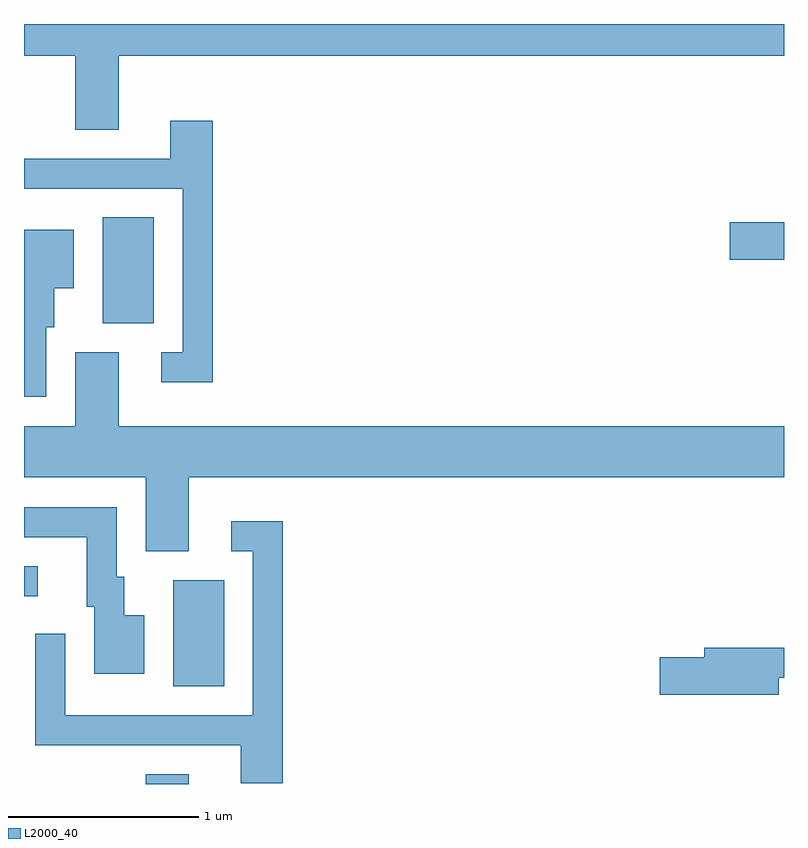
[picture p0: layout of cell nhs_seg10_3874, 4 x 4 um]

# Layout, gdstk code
import gdstk
lib = gdstk.Library(unit=1e-6, precision=1e-09)
def R(c, l, rs):  # rectangles x0, y0, x1, y1
    for r in rs: c.add(gdstk.rectangle(r[:2], r[2:], *l))
def P(c, l, *ps):  # polygons
    for p in ps: c.add(gdstk.Polygon(p, *l))
L2000_40 = (2000, 40)

nhs_seg10_3874 = lib.new_cell('nhs_seg10_3874')
R(nhs_seg10_3874, L2000_40, [(300.251,2114.522,300.479,2114.574), (300.396,2115.036,300.664,2115.594), (299.611,2115.511,299.683,2115.669), (300.026,2116.946,300.294,2117.504), (303.326,2117.281,303.611,2117.479)])
P(nhs_seg10_3874, L2000_40, [(300.109,2118.356),(303.611,2118.356),(303.611,2118.522),(299.611,2118.522),(299.611,2118.356),(299.881,2118.356),(299.881,2117.966),(300.109,2117.966)],
  [(300.604,2118.014),(300.381,2118.014),(300.381,2117.814),(299.611,2117.814),(299.611,2117.656),(300.446,2117.656),(300.446,2116.794),(300.333,2116.794),(300.333,2116.636),(300.604,2116.636)],
  [(299.729,2116.926),(299.769,2116.926),(299.769,2117.131),(299.874,2117.131),(299.874,2117.439),(299.611,2117.439),(299.611,2116.561),(299.729,2116.561)],
  [(300.479,2116.136),(303.611,2116.136),(303.611,2116.404),(300.109,2116.404),(300.109,2116.794),(299.881,2116.794),(299.881,2116.404),(299.611,2116.404),(299.611,2116.136),(300.251,2116.136),(300.251,2115.746),(300.479,2115.746)],
  [(300.244,2115.409),(300.139,2115.409),(300.139,2115.614),(300.099,2115.614),(300.099,2115.979),(299.611,2115.979),(299.611,2115.821),(299.941,2115.821),(299.941,2115.456),(299.981,2115.456),(299.981,2115.101),(300.244,2115.101)],
  [(300.974,2115.904),(300.703,2115.904),(300.703,2115.746),(300.816,2115.746),(300.816,2114.884),(299.829,2114.884),(299.829,2115.313),(299.671,2115.313),(299.671,2114.726),(300.751,2114.726),(300.751,2114.526),(300.974,2114.526)],
  [(303.584,2115.081),(303.611,2115.081),(303.611,2115.239),(303.191,2115.239),(303.191,2115.189),(302.956,2115.189),(302.956,2114.991),(303.584,2114.991)])

lib.write_gds('nhs_seg10_3874.gds')
